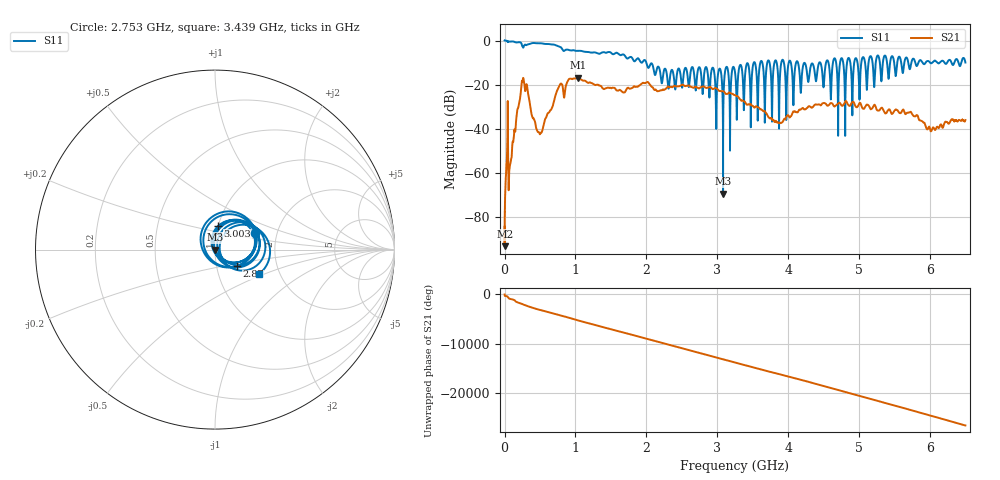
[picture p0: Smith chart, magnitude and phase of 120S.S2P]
!Keysight Technologies,E5063A,MY54503115,A.05.08
!Date: Tue Mar 05 14:54:36 2024
!Data & Calibration Information:
!Freq	S11:NONE(--)	S21:NONE(--)	S12:NONE(--)	S22:NONE(--)
# Hz S dB R 50
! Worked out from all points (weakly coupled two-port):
!   10001 points, 100 kHz to 6.5 GHz, reference 50 ohm
!   highest |S21| = -16.79 dB at 1.033 GHz (marker M1); lowest = -93.3 dB at 750 kHz (marker M2)
!   lowest |S11| = -69.4 dB at 3.082 GHz (marker M3), VSWR 1.00, Z = 50 + j0.0279 ohm
!   |S11| at or under -10 dB: 1.999 GHz to 3.515 GHz (1.516 GHz wide, 55 % of centre); 4.138 GHz to 4.438 GHz (300.3 MHz wide, 7 % of centre); 4.453 GHz to 4.534 GHz (81.13 MHz wide, 1.81 % of centre) (the widest 3 of 29)
!   S12 and S22 are empty: the file has one direction only
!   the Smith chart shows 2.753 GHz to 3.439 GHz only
!   S11 on the Smith chart (normalised r, x): 2.753 GHz: 1.54, +0.30; 2.87 GHz: 1.25, -0.24; 3.003 GHz: 1.00, +0.27; 3.439 GHz: 1.56, -0.46
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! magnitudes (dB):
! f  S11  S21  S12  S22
! 100 kHz  0.0  -84.4  -  -
! 750 kHz  0.0  -93.3  -  -
! 39.75 MHz  -0.2  -43.8  -  -
! 84.6 MHz  -0.5  -55.3  -  -
! 253.6 MHz  -2.6  -18.4  -  -
! 497.3 MHz  -1.2  -42.5  -  -
! 772.9 MHz  -2.7  -20.4  -  -
! 1.033 GHz  -4.7  -16.8  -  -
! 1.084 GHz  -4.7  -17.8  -  -
! 2.167 GHz  -11.8  -23.0  -  -
! 2.753 GHz  -12.3  -21.5  -  -
! 2.87 GHz  -16.4  -21.3  -  -
! 3.003 GHz  -17.5  -22.0  -  -
! 3.082 GHz  -69.4  -23.0  -  -
! 3.13 GHz  -11.9  -24.2  -  -
! 3.25 GHz  -14.3  -24.7  -  -
! 3.439 GHz  -11.1  -28.9  -  -
! 3.876 GHz  -24.6  -37.3  -  -
! 3.921 GHz  -8.7  -37.0  -  -
! 4.334 GHz  -10.4  -30.5  -  -
! 5.417 GHz  -17.3  -31.3  -  -
! 6.5 GHz  -10.0  -36.1  -  -
